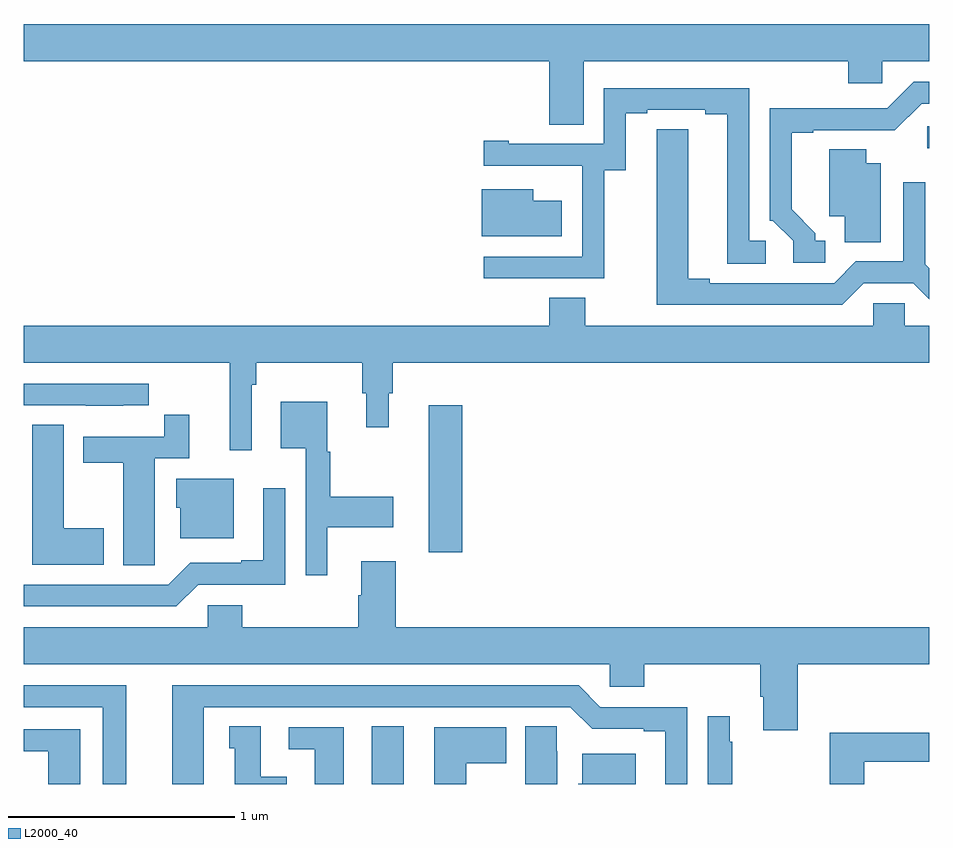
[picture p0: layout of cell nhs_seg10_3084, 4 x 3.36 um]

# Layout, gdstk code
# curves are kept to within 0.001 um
import gdstk
lib = gdstk.Library(unit=1e-6, precision=1e-09)
def R(c, l, rs):  # rectangles x0, y0, x1, y1
    for r in rs: c.add(gdstk.rectangle(r[:2], r[2:], *l))
def P(c, l, *ps):  # polygons
    for p in ps: c.add(gdstk.Polygon(p, *l))
L2000_40 = (2000, 40)

nhs_seg10_3084 = lib.new_cell('nhs_seg10_3084')
R(nhs_seg10_3084, L2000_40, [(280.538,1254.5,280.678,1254.755), (280.79,1255.524,280.937,1256.173), (282.99,1257.308,283,1257.405)])
P(nhs_seg10_3084, L2000_40, [(281.473,1257.692),(282.641,1257.692),(282.641,1257.594),(282.792,1257.594),(282.792,1257.692),(283,1257.692),(283,1257.856),(279,1257.856),(279,1257.692),(281.321,1257.692),(281.321,1257.412),(281.473,1257.412)],
  [(282.541,1256.898),(282.496,1256.898),(282.496,1256.933),(282.391,1257.038),(282.391,1257.375),(282.487,1257.375),(282.487,1257.387),(282.848,1257.386),(282.966,1257.504),(283,1257.504),(283,1257.6),(282.93,1257.6),(282.813,1257.483),(282.557,1257.483),(282.557,1257.485),(282.294,1257.485),(282.294,1256.988),(282.309,1256.988),(282.399,1256.898),(282.399,1256.802),(282.541,1256.802)],
  [(281.565,1257.211),(281.659,1257.211),(281.659,1257.462),(281.755,1257.462),(281.755,1257.477),(282.011,1257.477),(282.011,1257.457),(282.107,1257.457),(282.107,1256.797),(282.277,1256.797),(282.277,1256.898),(282.204,1256.898),(282.204,1257.573),(281.562,1257.573),(281.562,1257.327),(281.143,1257.327),(281.143,1257.34),(281.031,1257.34),(281.031,1257.231),(281.465,1257.231),(281.465,1257.23),(281.466,1257.23),(281.466,1256.829),(281.031,1256.829),(281.031,1256.733),(281.565,1256.733)],
  [(282.711,1256.712),(282.929,1256.712),(283,1256.641),(283,1256.777),(282.981,1256.796),(282.981,1257.157),(282.885,1257.157),(282.885,1256.808),(282.675,1256.808),(282.579,1256.712),(282.031,1256.712),(282.031,1256.732),(281.935,1256.732),(281.935,1257.392),(281.796,1257.392),(281.795,1256.616),(282.615,1256.616)],
  [(282.784,1257.241),(282.721,1257.241),(282.721,1257.302),(282.557,1257.302),(282.557,1257.008),(282.626,1257.008),(282.626,1256.893),(282.784,1256.893)],
  [(281.377,1257.076),(281.251,1257.076),(281.251,1257.127),(281.024,1257.127),(281.024,1256.918),(281.377,1256.918)],
  [(280.008,1256.264),(280.028,1256.264),(280.028,1256.36),(280.495,1256.36),(280.495,1256.226),(280.514,1256.226),(280.514,1256.076),(280.612,1256.076),(280.612,1256.226),(280.631,1256.226),(280.631,1256.36),(283,1256.36),(283,1256.524),(282.891,1256.524),(282.891,1256.622),(282.753,1256.622),(282.753,1256.524),(281.481,1256.524),(281.481,1256.648),(281.321,1256.648),(281.321,1256.524),(279,1256.524),(279,1256.36),(279.911,1256.36),(279.911,1255.974),(280.008,1255.974)],
  [(279.44,1256.172),(279.553,1256.172),(279.553,1256.268),(279,1256.268),(279,1256.172),(279.274,1256.172),(279.274,1256.171),(279.44,1256.171)],
  [(280.342,1255.634),(280.633,1255.634),(280.633,1255.769),(280.354,1255.769),(280.354,1255.968),(280.342,1255.968),(280.342,1256.188),(280.136,1256.188),(280.136,1255.982),(280.245,1255.982),(280.245,1255.422),(280.342,1255.422)],
  [(279.579,1255.576),(279.58,1255.576),(279.58,1255.938),(279.731,1255.938),(279.731,1256.131),(279.622,1256.131),(279.622,1256.034),(279.263,1256.034),(279.263,1255.918),(279.44,1255.918),(279.44,1255.465),(279.579,1255.465)],
  [(279.355,1255.629),(279.178,1255.629),(279.178,1256.087),(279.039,1256.087),(279.039,1255.979),(279.038,1255.979),(279.038,1255.469),(279.355,1255.469)],
  [(279.928,1255.849),(279.674,1255.849),(279.674,1255.719),(279.692,1255.719),(279.692,1255.586),(279.928,1255.586)],
  [(279.771,1255.38),(280.155,1255.38),(280.155,1255.807),(280.058,1255.807),(280.058,1255.489),(279.962,1255.489),(279.962,1255.476),(279.735,1255.476),(279.639,1255.38),(279,1255.38),(279,1255.284),(279.675,1255.284)],
  [(282.419,1255.028),(283,1255.028),(283,1255.192),(280.643,1255.192),(280.643,1255.483),(280.49,1255.483),(280.49,1255.334),(280.478,1255.334),(280.478,1255.192),(279.965,1255.192),(279.965,1255.29),(279.813,1255.29),(279.813,1255.192),(279,1255.192),(279,1255.028),(281.589,1255.028),(281.589,1254.93),(281.741,1254.93),(281.741,1255.028),(282.254,1255.028),(282.254,1254.886),(282.266,1254.886),(282.266,1254.738),(282.419,1254.738)],
  [(279.796,1254.84),(281.415,1254.84),(281.511,1254.744),(281.738,1254.744),(281.738,1254.732),(281.834,1254.732),(281.834,1254.5),(281.931,1254.5),(281.931,1254.84),(281.547,1254.84),(281.451,1254.936),(279.656,1254.936),(279.656,1254.5),(279.796,1254.5)],
  [(279.454,1254.936),(279,1254.936),(279,1254.84),(279.35,1254.84),(279.35,1254.5),(279.454,1254.5)],
  [(282.13,1254.686),(282.118,1254.686),(282.118,1254.799),(282.021,1254.799),(282.021,1254.5),(282.13,1254.5)],
  [(281.356,1254.644),(281.355,1254.644),(281.355,1254.755),(281.216,1254.755),(281.216,1254.5),(281.356,1254.5)],
  [(280.162,1254.532),(280.048,1254.532),(280.048,1254.755),(279.908,1254.755),(279.908,1254.657),(279.932,1254.657),(279.932,1254.5),(280.162,1254.5)],
  [(280.954,1254.592),(281.131,1254.592),(281.131,1254.751),(280.814,1254.751),(280.814,1254.5),(280.954,1254.5)],
  [(280.414,1254.75),(280.17,1254.75),(280.17,1254.654),(280.286,1254.654),(280.286,1254.5),(280.414,1254.5)],
  [(279.25,1254.741),(279,1254.741),(279,1254.644),(279.11,1254.644),(279.11,1254.5),(279.25,1254.5)],
  [(282.713,1254.598),(283,1254.598),(283,1254.727),(282.559,1254.727),(282.559,1254.5),(282.713,1254.5)],
  [(281.704,1254.634),(281.468,1254.634),(281.468,1254.501),(281.45,1254.501),(281.45,1254.5),(281.704,1254.5)])

lib.write_gds('nhs_seg10_3084.gds')
